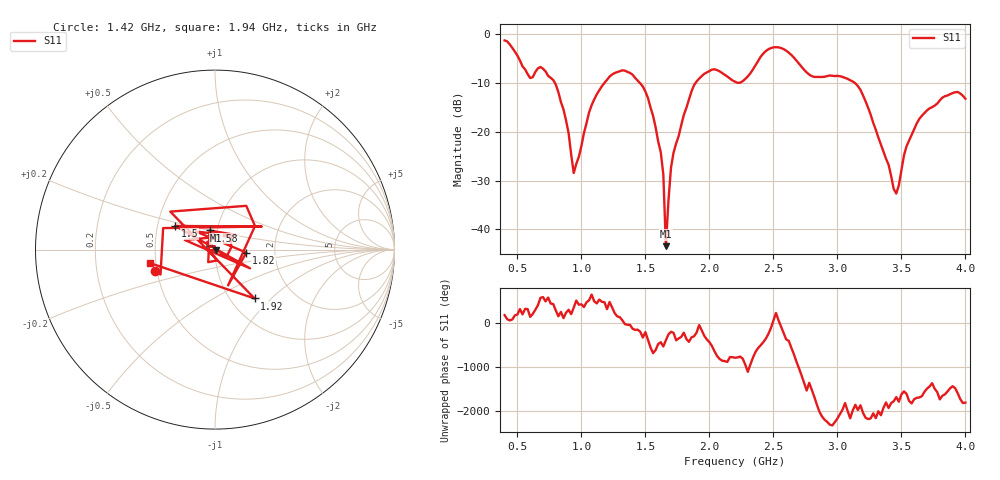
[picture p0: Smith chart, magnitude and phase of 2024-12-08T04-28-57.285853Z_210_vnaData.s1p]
!Created with skrf (http://scikit-rf.org).
# Hz S RI R 50.0
!freq ReS11 ImS11
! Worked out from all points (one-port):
!   181 points, 400 MHz to 4 GHz, reference 50 ohm
!   lowest |S11| = -43.4 dB at 1.66 GHz (marker M1), VSWR 1.01, Z = 50.6 - j0.365 ohm
!   |S11| at or under -10 dB: 792.7 MHz to 1.18 GHz (387 MHz wide, 39.2 % of centre); 1.457 GHz to 1.892 GHz (435.8 MHz wide, 26 % of centre); 3.136 GHz to end of sweep
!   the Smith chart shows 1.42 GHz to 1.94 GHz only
!   S11 on the Smith chart (normalised r, x): 1.42 GHz: 0.49, -0.14; 1.5 GHz: 0.62, +0.17; 1.58 GHz: 0.92, +0.20; 1.82 GHz: 1.42, -0.05; 1.92 GHz: 1.29, -0.80; 1.94 GHz: 0.46, -0.08
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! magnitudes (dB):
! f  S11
! 400 MHz  -1.3
! 600 MHz  -9.0
! 680 MHz  -6.7
! 780 MHz  -9.4
! 860 MHz  -15.4
! 940 MHz  -28.5
! 1.1 GHz  -13.4
! 1.3 GHz  -7.6
! 1.42 GHz  -9.0
! 1.5 GHz  -11.8
! 1.58 GHz  -19.1
! 1.64 GHz  -28.7
! 1.66 GHz  -43.4
! 1.7 GHz  -27.3
! 1.76 GHz  -20.9
! 1.82 GHz  -15.1
! 1.92 GHz  -9.1
! 1.94 GHz  -8.6
! 2.2 GHz  -9.8
! 2.48 GHz  -2.9
! 2.66 GHz  -4.8
! 2.8 GHz  -8.6
! 3.1 GHz  -9.5
! 3.22 GHz  -13.8
! 3.46 GHz  -32.6
! 3.56 GHz  -21.8
! 3.82 GHz  -13.0
! 4 GHz  -13.2
